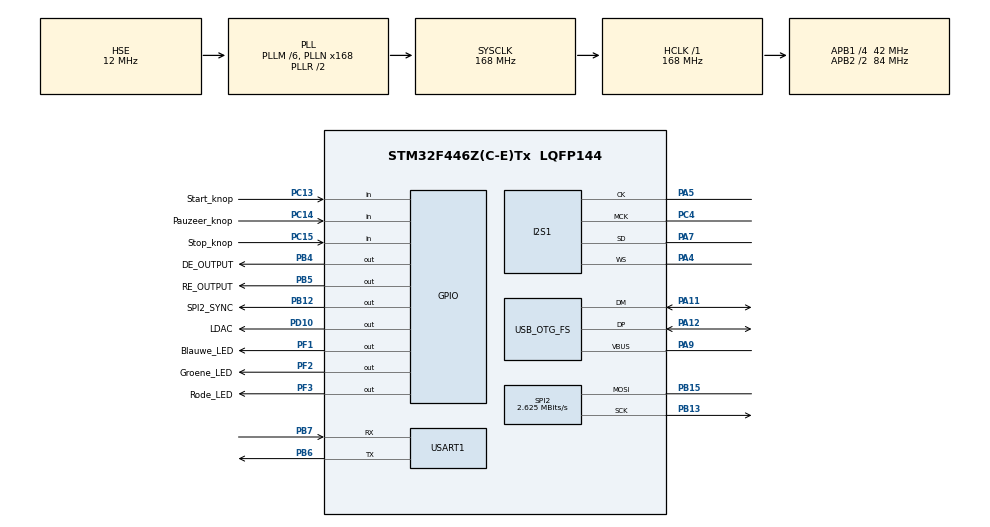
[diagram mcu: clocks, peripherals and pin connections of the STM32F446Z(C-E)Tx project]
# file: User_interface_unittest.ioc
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FREERTOS.Tasks01=defaultTask,24,128,StartDefaultTask,Default,NULL,Dynamic,NULL,NULL;KnopTASK,24,128,StartKnopThread,Default,NULL,Dynamic,NULL,NULL;LedTASK,24,128,StartLEDThread,Default,NULL,Dynamic,NULL,NULL
FREERTOS.configUSE_NEWLIB_REENTRANT=1
I2S1.AudioFreq=I2S_AUDIOFREQ_48K
I2S1.DataFormat=I2S_DATAFORMAT_24B
I2S1.ErrorAudioFreq=1.72 %
I2S1.FullDuplexMode=I2S_FULLDUPLEXMODE_DISABLE
I2S1.Instance=SPI$Index
I2S1.RealAudioFreq=48.828 KHz
I2S1.Standard=I2S_STANDARD_PHILIPS
I2S1.VirtualMode=I2S_MODE_MASTER
Mcu.Family=STM32F4
Mcu.Name=STM32F446Z(C-E)Tx
Mcu.Package=LQFP144
NVIC.OTG_FS_IRQn=true\:5\:0\:false\:false\:true\:true\:false\:true\:true
NVIC.PriorityGroup=NVIC_PRIORITYGROUP_4
PA11.Mode=Device_Only
PA11.Signal=USB_OTG_FS_DM
PA12.Mode=Device_Only
PA12.Signal=USB_OTG_FS_DP
PA13.Mode=Serial_Wire
PA13.Signal=SYS_JTMS-SWDIO
PA14.Mode=Serial_Wire
PA14.Signal=SYS_JTCK-SWCLK
PA4.Mode=Half_Duplex_Master
PA4.Signal=I2S1_WS
PA5.Mode=Half_Duplex_Master
PA5.Signal=I2S1_CK
PA7.Mode=Half_Duplex_Master
PA7.Signal=I2S1_SD
PA9.Mode=Activate_VBUS
PA9.Signal=USB_OTG_FS_VBUS
PB12.GPIO_Label=SPI2_SYNC
PB12.Signal=GPIO_Output
PB13.Mode=Simplex_Bidirectional_Master
PB13.Signal=SPI2_SCK
PB15.Mode=Simplex_Bidirectional_Master
PB15.Signal=SPI2_MOSI
PB4.GPIO_Label=DE_OUTPUT
PB4.Signal=GPIO_Output
PB5.GPIO_Label=RE_OUTPUT
PB5.Signal=GPIO_Output
PB6.Mode=Asynchronous
PB6.Signal=USART1_TX
PB7.Mode=Asynchronous
PB7.Signal=USART1_RX
PC13.GPIO_Label=Start_knop
PC13.GPIO_PuPd=GPIO_PULLUP
PC13.Signal=GPIO_Input
PC14-OSC32_IN.GPIO_Label=Pauzeer_knop
PC14-OSC32_IN.GPIO_PuPd=GPIO_PULLUP
PC14-OSC32_IN.Signal=GPIO_Input
PC15-OSC32_OUT.GPIO_Label=Stop_knop
PC15-OSC32_OUT.GPIO_PuPd=GPIO_PULLUP
PC15-OSC32_OUT.Signal=GPIO_Input
PC4.Mode=Master_Clock_Activated
PC4.Signal=I2S1_MCK
PD10.GPIO_Label=LDAC
PD10.Signal=GPIO_Output
PF1.GPIO_Label=Blauwe_LED
PF1.Signal=GPIO_Output
PF2.GPIO_Label=Groene_LED
PF2.Signal=GPIO_Output
PF3.GPIO_Label=Rode_LED
PF3.Signal=GPIO_Output
PH0-OSC_IN.Mode=HSE-External-Oscillator
PH0-OSC_IN.Signal=RCC_OSC_IN
PH1-OSC_OUT.Mode=HSE-External-Oscillator
PH1-OSC_OUT.Signal=RCC_OSC_OUT
ProjectManager.HeapSize=0x200
ProjectManager.StackSize=0x400
ProjectManager.TargetToolchain=STM32CubeIDE
RCC.AHBFreq_Value=168000000
RCC.APB1CLKDivider=RCC_HCLK_DIV4
RCC.APB1Freq_Value=42000000
RCC.APB1TimFreq_Value=84000000
RCC.APB2CLKDivider=RCC_HCLK_DIV2
RCC.APB2Freq_Value=84000000
RCC.APB2TimFreq_Value=168000000
RCC.CortexFreq_Value=168000000
RCC.HCLKFreq_Value=168000000
RCC.HSE_VALUE=12000000
RCC.PLLI2SM=6
RCC.PLLI2SN=75
RCC.PLLM=6
RCC.PLLN=168
RCC.PLLQ=7
RCC.SYSCLKFreq_VALUE=168000000
RCC.SYSCLKSource=RCC_SYSCLKSOURCE_PLLRCLK
RCC.USBFreq_Value=48000000
RCC.VCOOutputFreq_Value=336000000
SPI2.BaudRatePrescaler=SPI_BAUDRATEPRESCALER_16
SPI2.CLKPolarity=SPI_POLARITY_HIGH
SPI2.CalculateBaudRate=2.625 MBits/s
SPI2.Direction=SPI_DIRECTION_1LINE
SPI2.Mode=SPI_MODE_MASTER
SPI2.VirtualType=VM_MASTER
USART1.VirtualMode=VM_ASYNC
USB_DEVICE.CLASS_NAME_FS=CDC
USB_DEVICE.PRODUCT_STRING_CDC_FS=YOUNES STM32
USB_DEVICE.VirtualMode-CDC_FS=Cdc
USB_DEVICE.VirtualModeFS=Cdc_FS
USB_OTG_FS.VirtualMode=Device_Only
VP_FREERTOS_VS_CMSIS_V2.Mode=CMSIS_V2
VP_USB_DEVICE_VS_USB_DEVICE_CDC_FS.Mode=CDC_FS
board=custom

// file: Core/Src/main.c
/* USER CODE BEGIN Header */
/**
  ******************************************************************************
  * @file           : main.c
  * @brief          : Main program body
  ******************************************************************************
  * @attention
  *
  * Copyright (c) 2024 STMicroelectronics.
  * All rights reserved.
  *
  * This software is licensed under terms that can be found in the LICENSE file
  * in the root directory of this software component.
  * If no LICENSE file comes with this software, it is provided AS-IS.
  *
  ******************************************************************************
  */
/* USER CODE END Header */
#include "main.h"
#include "cmsis_os.h"
#include "usb_device.h"

/* USER CODE BEGIN Includes */
//#include "cmsis_os.h"
/* USER CODE END Includes */

/* USER CODE BEGIN PTD */
typedef enum {
    STATUS_WACHTEN_OP_INSTELLINGEN,
    STATUS_GEREED,
    STATUS_TEST_GESTART,
    STATUS_TEST_GEPAUZEERD,
	STATUS_TEST_GESTOPT,
    STATUS_TEST_VOLTOOID
} TestStatus;
/* USER CODE END PTD */

/* USER CODE BEGIN PD */
#define BLAUWE_LED_PIN GPIO_PIN_1
#define BLAUWE_LED_PORT GPIOF

#define GROENE_LED_PIN GPIO_PIN_2
#define GROENE_LED_PORT GPIOF

#define RODE_LED_PIN GPIO_PIN_3
#define RODE_LED_PORT GPIOF

#define START_KNOP_PIN GPIO_PIN_13
#define START_KNOP_PORT GPIOC

#define PAUZEER_KNOP_PIN GPIO_PIN_14
#define PAUZEER_KNOP_PORT GPIOC

#define STOP_KNOP_PIN GPIO_PIN_15
#define STOP_KNOP_PORT GPIOC
/* USER CODE END PD */

I2S_HandleTypeDef hi2s1;

SPI_HandleTypeDef hspi2;

UART_HandleTypeDef huart1;

/* Definitions for defaultTask */
osThreadId_t defaultTaskHandle;
const osThreadAttr_t defaultTask_attributes = {
  .name = "defaultTask",
  .stack_size = 128 * 4,
  .priority = (osPriority_t) osPriorityNormal,
};
/* Definitions for KnopTASK */
osThreadId_t KnopTASKHandle;
const osThreadAttr_t KnopTASK_attributes = {
  .name = "KnopTASK",
  .stack_size = 128 * 4,
  .priority = (osPriority_t) osPriorityNormal,
};
/* Definitions for LedTASK */
osThreadId_t LedTASKHandle;
const osThreadAttr_t LedTASK_attributes = {
  .name = "LedTASK",
  .stack_size = 128 * 4,
  .priority = (osPriority_t) osPriorityNormal,
};
/* USER CODE BEGIN PV */
TestStatus huidig_status = STATUS_WACHTEN_OP_INSTELLINGEN;

//osThreadId_t knop_thread_handle;
//osThreadId_t led_thread_handle;
/* USER CODE END PV */

void SystemClock_Config(void);
static void MX_GPIO_Init(void);
static void MX_I2S1_Init(void);
static void MX_USART1_UART_Init(void);
static void MX_SPI2_Init(void);
void StartDefaultTask(void *argument);
void StartKnopThread(void *argument);
void StartLEDThread(void *argument);

/* USER CODE BEGIN 0 */
void zet_blauw_licht_aan() {
    HAL_GPIO_WritePin(BLAUWE_LED_PORT, BLAUWE_LED_PIN, GPIO_PIN_SET);
    HAL_GPIO_WritePin(GROENE_LED_PORT, GROENE_LED_PIN, GPIO_PIN_RESET);
    HAL_GPIO_WritePin(RODE_LED_PORT, RODE_LED_PIN, GPIO_PIN_RESET);
}

void zet_groen_licht_aan() {
    HAL_GPIO_WritePin(BLAUWE_LED_PORT, BLAUWE_LED_PIN, GPIO_PIN_RESET);
    HAL_GPIO_WritePin(GROENE_LED_PORT, GROENE_LED_PIN, GPIO_PIN_SET);
    HAL_GPIO_WritePin(RODE_LED_PORT, RODE_LED_PIN, GPIO_PIN_RESET);
}

void zet_rood_licht_aan() {
    HAL_GPIO_WritePin(BLAUWE_LED_PORT, BLAUWE_LED_PIN, GPIO_PIN_RESET);
    HAL_GPIO_WritePin(GROENE_LED_PORT, GROENE_LED_PIN, GPIO_PIN_RESET);
    HAL_GPIO_WritePin(RODE_LED_PORT, RODE_LED_PIN, GPIO_PIN_SET);
}

void groen_knipperend() {
	HAL_GPIO_WritePin(BLAUWE_LED_PORT, BLAUWE_LED_PIN, GPIO_PIN_RESET);
	HAL_GPIO_WritePin(RODE_LED_PORT, RODE_LED_PIN, GPIO_PIN_RESET);
	HAL_GPIO_TogglePin(GROENE_LED_PORT, GROENE_LED_PIN);

}

void blauw_knipperend() {
    HAL_GPIO_WritePin(GROENE_LED_PORT, GROENE_LED_PIN, GPIO_PIN_RESET);
    HAL_GPIO_WritePin(RODE_LED_PORT, RODE_LED_PIN, GPIO_PIN_RESET);
    HAL_GPIO_TogglePin(BLAUWE_LED_PORT, BLAUWE_LED_PIN);
}

void update_status(TestStatus nieuwe_status) {
    huidig_status = nieuwe_status;
}

/* USER CODE END 0 */

int main(void)
{

  /* MCU Configuration--------------------------------------------------------*/

  /* Reset of all peripherals, Initializes the Flash interface and the Systick. */
  HAL_Init();

  /* Configure the system clock */
  SystemClock_Config();

  /* Initialize all configured peripherals */
  MX_GPIO_Init();
  MX_I2S1_Init();
  MX_USART1_UART_Init();
  MX_SPI2_Init();
  /* USER CODE BEGIN 2 */
  HAL_GPIO_WritePin(GROENE_LED_PORT, GROENE_LED_PIN, GPIO_PIN_RESET);
  HAL_GPIO_WritePin(RODE_LED_PORT, RODE_LED_PIN, GPIO_PIN_RESET);
  HAL_GPIO_WritePin(BLAUWE_LED_PORT, BLAUWE_LED_PIN, GPIO_PIN_RESET);

  /* USER CODE END 2 */

  /* Init scheduler */
  osKernelInitialize();

  /* Create the thread(s) */
  /* creation of defaultTask */
  defaultTaskHandle = osThreadNew(StartDefaultTask, NULL, &defaultTask_attributes);

  /* creation of KnopTASK */
  KnopTASKHandle = osThreadNew(StartKnopThread, NULL, &KnopTASK_attributes);

  /* creation of LedTASK */
  LedTASKHandle = osThreadNew(StartLEDThread, NULL, &LedTASK_attributes);

  /* Start scheduler */
  osKernelStart();
  /* We should never get here as control is now taken by the scheduler */
  /* Infinite loop */
  while (1)
  {

  }
}

void SystemClock_Config(void)
{
  RCC_OscInitTypeDef RCC_OscInitStruct = {0};
  RCC_ClkInitTypeDef RCC_ClkInitStruct = {0};

  /** Configure the main internal regulator output voltage
  */
  __HAL_RCC_PWR_CLK_ENABLE();
  __HAL_PWR_VOLTAGESCALING_CONFIG(PWR_REGULATOR_VOLTAGE_SCALE1);

  /** Initializes the RCC Oscillators according to the specified parameters
  * in the RCC_OscInitTypeDef structure.
  */
  RCC_OscInitStruct.OscillatorType = RCC_OSCILLATORTYPE_HSE;
  RCC_OscInitStruct.HSEState = RCC_HSE_ON;
  RCC_OscInitStruct.PLL.PLLState = RCC_PLL_ON;
  RCC_OscInitStruct.PLL.PLLSource = RCC_PLLSOURCE_HSE;
  RCC_OscInitStruct.PLL.PLLM = 6;
  RCC_OscInitStruct.PLL.PLLN = 168;
  RCC_OscInitStruct.PLL.PLLP = RCC_PLLP_DIV2;
  RCC_OscInitStruct.PLL.PLLQ = 7;
  RCC_OscInitStruct.PLL.PLLR = 2;
  if (HAL_RCC_OscConfig(&RCC_OscInitStruct) != HAL_OK)
  {
    Error_Handler();
  }

  /** Initializes the CPU, AHB and APB buses clocks
  */
  RCC_ClkInitStruct.ClockType = RCC_CLOCKTYPE_HCLK|RCC_CLOCKTYPE_SYSCLK
                              |RCC_CLOCKTYPE_PCLK1|RCC_CLOCKTYPE_PCLK2;
  RCC_ClkInitStruct.SYSCLKSource = RCC_SYSCLKSOURCE_PLLRCLK;
  RCC_ClkInitStruct.AHBCLKDivider = RCC_SYSCLK_DIV1;
  RCC_ClkInitStruct.APB1CLKDivider = RCC_HCLK_DIV4;
  RCC_ClkInitStruct.APB2CLKDivider = RCC_HCLK_DIV2;

  if (HAL_RCC_ClockConfig(&RCC_ClkInitStruct, FLASH_LATENCY_5) != HAL_OK)
  {
    Error_Handler();
  }
}

static void MX_I2S1_Init(void)
{

  hi2s1.Instance = SPI1;
  hi2s1.Init.Mode = I2S_MODE_MASTER_TX;
  hi2s1.Init.Standard = I2S_STANDARD_PHILIPS;
  hi2s1.Init.DataFormat = I2S_DATAFORMAT_24B;
  hi2s1.Init.MCLKOutput = I2S_MCLKOUTPUT_ENABLE;
  hi2s1.Init.AudioFreq = I2S_AUDIOFREQ_48K;
  hi2s1.Init.CPOL = I2S_CPOL_LOW;
  hi2s1.Init.ClockSource = I2S_CLOCK_PLL;
  hi2s1.Init.FullDuplexMode = I2S_FULLDUPLEXMODE_DISABLE;
  if (HAL_I2S_Init(&hi2s1) != HAL_OK)
  {
    Error_Handler();
  }

}

static void MX_SPI2_Init(void)
{

  /* SPI2 parameter configuration*/
  hspi2.Instance = SPI2;
  hspi2.Init.Mode = SPI_MODE_MASTER;
  hspi2.Init.Direction = SPI_DIRECTION_1LINE;
  hspi2.Init.DataSize = SPI_DATASIZE_8BIT;
  hspi2.Init.CLKPolarity = SPI_POLARITY_HIGH;
  hspi2.Init.CLKPhase = SPI_PHASE_1EDGE;
  hspi2.Init.NSS = SPI_NSS_SOFT;
  hspi2.Init.BaudRatePrescaler = SPI_BAUDRATEPRESCALER_16;
  hspi2.Init.FirstBit = SPI_FIRSTBIT_MSB;
  hspi2.Init.TIMode = SPI_TIMODE_DISABLE;
  hspi2.Init.CRCCalculation = SPI_CRCCALCULATION_DISABLE;
  hspi2.Init.CRCPolynomial = 10;
  if (HAL_SPI_Init(&hspi2) != HAL_OK)
  {
    Error_Handler();
  }

}

static void MX_USART1_UART_Init(void)
{

  huart1.Instance = USART1;
  huart1.Init.BaudRate = 115200;
  huart1.Init.WordLength = UART_WORDLENGTH_8B;
  huart1.Init.StopBits = UART_STOPBITS_1;
  huart1.Init.Parity = UART_PARITY_NONE;
  huart1.Init.Mode = UART_MODE_TX_RX;
  huart1.Init.HwFlowCtl = UART_HWCONTROL_NONE;
  huart1.Init.OverSampling = UART_OVERSAMPLING_16;
  if (HAL_UART_Init(&huart1) != HAL_OK)
  {
    Error_Handler();
  }

}

static void MX_GPIO_Init(void)
{
  GPIO_InitTypeDef GPIO_InitStruct = {0};

  /* GPIO Ports Clock Enable */
  __HAL_RCC_GPIOC_CLK_ENABLE();
  __HAL_RCC_GPIOF_CLK_ENABLE();
  __HAL_RCC_GPIOH_CLK_ENABLE();
  __HAL_RCC_GPIOA_CLK_ENABLE();
  __HAL_RCC_GPIOB_CLK_ENABLE();
  __HAL_RCC_GPIOD_CLK_ENABLE();

  /*Configure GPIO pin Output Level */
  HAL_GPIO_WritePin(GPIOF, Blauwe_LED_Pin|Groene_LED_Pin|Rode_LED_Pin, GPIO_PIN_RESET);

  /*Configure GPIO pin Output Level */
  HAL_GPIO_WritePin(GPIOB, SPI2_SYNC_Pin|DE_OUTPUT_Pin|RE_OUTPUT_Pin, GPIO_PIN_RESET);

  /*Configure GPIO pin Output Level */
  HAL_GPIO_WritePin(LDAC_GPIO_Port, LDAC_Pin, GPIO_PIN_RESET);

  /*Configure GPIO pins : Start_knop_Pin Pauzeer_knop_Pin Stop_knop_Pin */
  GPIO_InitStruct.Pin = Start_knop_Pin|Pauzeer_knop_Pin|Stop_knop_Pin;
  GPIO_InitStruct.Mode = GPIO_MODE_INPUT;
  GPIO_InitStruct.Pull = GPIO_PULLUP;
  HAL_GPIO_Init(GPIOC, &GPIO_InitStruct);

  /*Configure GPIO pins : Blauwe_LED_Pin Groene_LED_Pin Rode_LED_Pin */
  GPIO_InitStruct.Pin = Blauwe_LED_Pin|Groene_LED_Pin|Rode_LED_Pin;
  GPIO_InitStruct.Mode = GPIO_MODE_OUTPUT_PP;
  GPIO_InitStruct.Pull = GPIO_NOPULL;
  GPIO_InitStruct.Speed = GPIO_SPEED_FREQ_LOW;
  HAL_GPIO_Init(GPIOF, &GPIO_InitStruct);

  /*Configure GPIO pins : SPI2_SYNC_Pin DE_OUTPUT_Pin RE_OUTPUT_Pin */
  GPIO_InitStruct.Pin = SPI2_SYNC_Pin|DE_OUTPUT_Pin|RE_OUTPUT_Pin;
  GPIO_InitStruct.Mode = GPIO_MODE_OUTPUT_PP;
  GPIO_InitStruct.Pull = GPIO_NOPULL;
  GPIO_InitStruct.Speed = GPIO_SPEED_FREQ_LOW;
  HAL_GPIO_Init(GPIOB, &GPIO_InitStruct);

  /*Configure GPIO pin : LDAC_Pin */
  GPIO_InitStruct.Pin = LDAC_Pin;
  GPIO_InitStruct.Mode = GPIO_MODE_OUTPUT_PP;
  GPIO_InitStruct.Pull = GPIO_NOPULL;
  GPIO_InitStruct.Speed = GPIO_SPEED_FREQ_LOW;
  HAL_GPIO_Init(LDAC_GPIO_Port, &GPIO_InitStruct);

}

void StartDefaultTask(void *argument)
{
  /* init code for USB_DEVICE */
  MX_USB_DEVICE_Init();
  for(;;)
  {
    osDelay(1);
  }
}

void StartKnopThread(void *argument)
{
  /* USER CODE BEGIN StartKnopThread */
  /* Infinite loop */
    for(;;) {
        switch (huidig_status) {
            case STATUS_GEREED:
                zet_blauw_licht_aan();
                break;
            case STATUS_TEST_GESTART:
                zet_groen_licht_aan();
                break;
            case STATUS_TEST_GEPAUZEERD:
                groen_knipperend();
                break;
            case STATUS_TEST_GESTOPT:
                zet_rood_licht_aan();
                break;
	        case STATUS_TEST_VOLTOOID:
	              blauw_knipperend();  // Blauw knipperen als voltooid
	              break;
            default:
                break;
        }
        osDelay(100);
    }
  /* USER CODE END StartKnopThread */
}

void StartLEDThread(void *argument)
{
  /* USER CODE BEGIN StartLEDThread */
  /* Infinite loop */

	for(;;) {
		if (HAL_GPIO_ReadPin(START_KNOP_PORT, START_KNOP_PIN) == GPIO_PIN_RESET) {
		update_status(STATUS_TEST_GESTART);
		} else if (HAL_GPIO_ReadPin(PAUZEER_KNOP_PORT, PAUZEER_KNOP_PIN) == GPIO_PIN_RESET) {
		update_status(STATUS_TEST_GEPAUZEERD);
		} else if (HAL_GPIO_ReadPin(STOP_KNOP_PORT, STOP_KNOP_PIN) == GPIO_PIN_RESET) {
		update_status(STATUS_TEST_GESTOPT);

		}

	   osDelay(100);

	}
  /* USER CODE END StartLEDThread */
}

void Error_Handler(void)
{
  __disable_irq();
  while (1)
  {
  }
}
